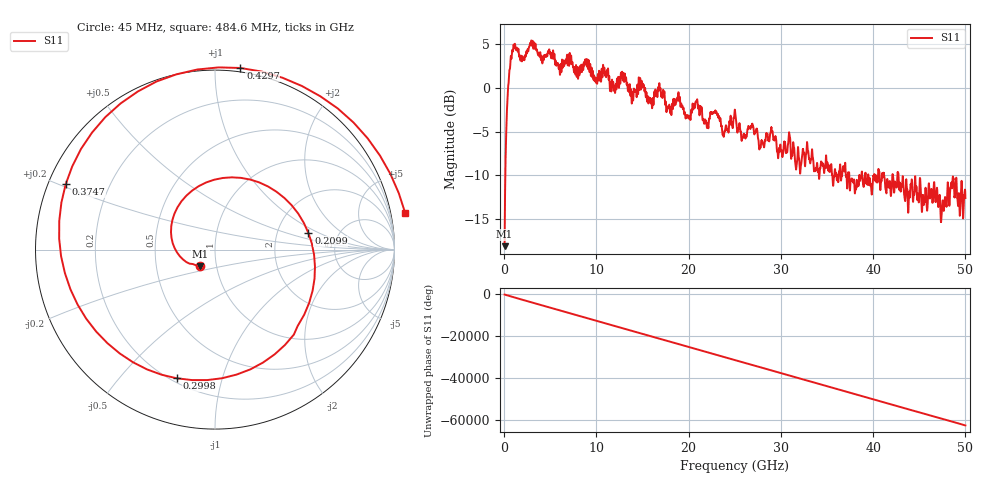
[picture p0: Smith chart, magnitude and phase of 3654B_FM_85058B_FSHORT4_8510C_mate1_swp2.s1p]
!Created with skrf (http://scikit-rf.org).
# Hz S RI R 50.0
!freq ReS11 ImS11
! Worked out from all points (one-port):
!   10001 points, 45 MHz to 50 GHz, reference 50 ohm
!   lowest |S11| = -18.1 dB at 45 MHz (marker M1), VSWR 1.28, Z = 41.7 - j7.88 ohm
!   |S11| at or under -10 dB: 37.41 GHz to 38.5 GHz (1.091 GHz wide, 2.87 % of centre); 41.2 GHz to 42.09 GHz (884.4 MHz wide, 2.12 % of centre); 42.75 GHz to end of sweep (the widest 3 of 22)
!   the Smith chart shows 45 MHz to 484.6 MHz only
!   S11 on the Smith chart (normalised r, x): 45 MHz: 0.83, -0.16; 209.9 MHz: 3.01, +0.78; 299.8 MHz: 0.22, -0.72; 374.7 MHz: 0.05, +0.21; 429.7 MHz: -0.02, +1.15; 484.6 MHz: -3.73, +9.11
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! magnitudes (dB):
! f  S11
! 45 MHz  -18.1
! 209.9 MHz  -5.5
! 299.8 MHz  -2.5
! 374.7 MHz  -0.8
! 429.7 MHz  0.2
! 484.6 MHz  0.7
! 1.169 GHz  5.1
! 6.289 GHz  3.2
! 12.53 GHz  1.1
! 15.84 GHz  -1.2
! 16.88 GHz  -0.2
! 17.92 GHz  -2.1
! 18.78 GHz  -1.2
! 21.92 GHz  -3.9
! 22.95 GHz  -2.8
! 23.76 GHz  -5.4
! 25.02 GHz  -2.5
! 25.93 GHz  -5.4
! 26.78 GHz  -4.4
! 27.84 GHz  -6.5
! 29.03 GHz  -5.0
! 31.27 GHz  -7.4
! 37.51 GHz  -11.4
! 43.76 GHz  -13.2
! 46.74 GHz  -13.0
! 47.51 GHz  -13.1
! 48.81 GHz  -12.4
! 50 GHz  -12.6
